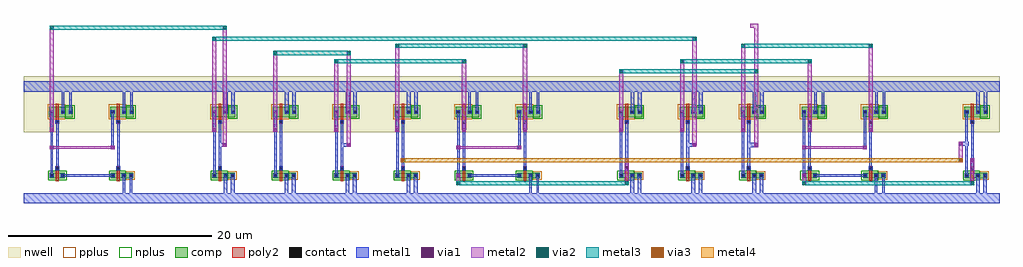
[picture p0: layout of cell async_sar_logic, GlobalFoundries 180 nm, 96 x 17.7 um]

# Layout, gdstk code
import gdstk
lib = gdstk.Library(unit=1e-6, precision=1e-09)
def R(c, l, rs):  # rectangles x0, y0, x1, y1
    for r in rs: c.add(gdstk.rectangle(r[:2], r[2:], *l))
nwell = (21, 0)
comp = (22, 0)
poly2 = (30, 0)
pplus = (31, 0)
nplus = (32, 0)
contact = (33, 0)
metal1 = (34, 0)
via1 = (35, 0)
metal2 = (36, 0)
via2 = (38, 0)
via3 = (40, 0)
metal3 = (42, 0)
metal4 = (46, 0)

gf180mcu_nfet_l_0_280_w_ = lib.new_cell('gf180mcu.nfet(L=0.280,W=0.500)')

gf180mcu_pfet_l_0_280_w_ = lib.new_cell('gf180mcu.pfet(L=0.280,W=1.000)')

async_inverter = lib.new_cell('async_inverter')
R(async_inverter, nwell, [(0,4.5,6,10), (0,4.5,6,10), (0,4.5,6,10), (1.85,5.31,5.54,7.69), (1.85,5.31,5.54,7.69), (1.85,5.31,5.54,7.69)])
R(async_inverter, comp, [(2.58,0,3,0.5), (2.58,0,3,0.5), (2.58,0,3,0.5), (3,0,3.66,0.5), (3,0,3.66,0.5), (3,0,3.66,0.5), (3.66,0,4.08,0.5), (3.66,0,4.08,0.5), (3.66,0,4.08,0.5), (4.08,0,4.79,0.5), (4.08,0,4.79,0.5), (4.08,0,4.79,0.5), (2.54,6,3,7), (2.54,6,3,7), (2.54,6,3,7), (3,6,3.66,7), (3,6,3.66,7), (3,6,3.66,7), (3.66,6,4.12,7), (3.66,6,4.12,7), (3.66,6,4.12,7), (4.12,6,4.85,7), (4.12,6,4.85,7), (4.12,6,4.85,7)])
R(async_inverter, poly2, [(3.19,-0.3,3.47,0.8), (3.19,-0.3,3.47,0.8), (3.19,-0.3,3.47,0.8), (3.15,0.8,3.51,1.16), (3.15,0.8,3.51,1.16), (3.15,0.8,3.51,1.16), (3.14,5.32,3.52,5.7), (3.14,5.32,3.52,5.7), (3.14,5.32,3.52,5.7), (3.19,5.7,3.47,7.3), (3.19,5.7,3.47,7.3), (3.19,5.7,3.47,7.3)])
R(async_inverter, pplus, [(4.08,-0.17,4.96,0.67), (4.08,-0.17,4.96,0.67), (4.08,-0.17,4.96,0.67), (2.37,5.76,4.12,7.24), (2.37,5.76,4.12,7.24), (2.37,5.76,4.12,7.24)])
R(async_inverter, nplus, [(2.41,-0.24,4.08,0.74), (2.41,-0.24,4.08,0.74), (2.41,-0.24,4.08,0.74), (4.12,5.83,5.02,7.17), (4.12,5.83,5.02,7.17), (4.12,5.83,5.02,7.17)])
R(async_inverter, contact, [(2.68,0.14,2.9,0.36), (2.68,0.14,2.9,0.36), (2.68,0.14,2.9,0.36), (3.76,0.14,3.98,0.36), (3.76,0.14,3.98,0.36), (3.76,0.14,3.98,0.36), (4.47,0.14,4.69,0.36), (4.47,0.14,4.69,0.36), (4.47,0.14,4.69,0.36), (3.22,0.87,3.44,1.09), (3.22,0.87,3.44,1.09), (3.22,0.87,3.44,1.09), (3.22,5.4,3.44,5.62), (3.22,5.4,3.44,5.62), (3.22,5.4,3.44,5.62), (2.66,6.39,2.88,6.61), (2.66,6.39,2.88,6.61), (2.66,6.39,2.88,6.61), (3.78,6.39,4,6.61), (3.78,6.39,4,6.61), (3.78,6.39,4,6.61), (4.51,6.39,4.73,6.61), (4.51,6.39,4.73,6.61), (4.51,6.39,4.73,6.61)])
R(async_inverter, metal1, [(0,-2.5,6,-1.5), (0,-2.5,6,-1.5), (0,-2.5,6,-1.5), (3.69,-2.5,4.05,0.25), (3.69,-2.5,4.05,0.25), (3.69,-2.5,4.05,0.25), (4.4,-2.5,4.76,0.25), (4.4,-2.5,4.76,0.25), (4.4,-2.5,4.76,0.25), (2.6,0.06,2.98,0.44), (2.6,0.06,2.98,0.44), (2.6,0.06,2.98,0.44), (3.68,0.06,4.06,0.44), (3.68,0.06,4.06,0.44), (3.68,0.06,4.06,0.44), (4.39,0.06,4.77,0.44), (4.39,0.06,4.77,0.44), (4.39,0.06,4.77,0.44), (2.64,0.12,2.9,6.63), (2.64,0.12,2.9,6.63), (2.64,0.12,2.9,6.63), (3.14,0.79,3.52,1.17), (3.14,0.79,3.52,1.17), (3.14,0.79,3.52,1.17), (3.2,0.85,3.46,5.64), (3.2,0.85,3.46,5.64), (3.2,0.85,3.46,5.64), (3.14,5.32,3.52,5.7), (3.14,5.32,3.52,5.7), (3.14,5.32,3.52,5.7), (2.58,6.31,2.96,6.69), (2.58,6.31,2.96,6.69), (2.58,6.31,2.96,6.69), (3.7,6.31,4.08,6.69), (3.7,6.31,4.08,6.69), (3.7,6.31,4.08,6.69), (4.43,6.31,4.81,6.69), (4.43,6.31,4.81,6.69), (4.43,6.31,4.81,6.69), (3.71,6.5,4.07,9.5), (3.71,6.5,4.07,9.5), (3.71,6.5,4.07,9.5), (4.44,6.5,4.8,9.5), (4.44,6.5,4.8,9.5), (4.44,6.5,4.8,9.5), (0,8.5,6,9.5), (0,8.5,6,9.5), (0,8.5,6,9.5)])
async_inverter.add(gdstk.Reference(gf180mcu_nfet_l_0_280_w_, (0,0)))
async_inverter.add(gdstk.Reference(gf180mcu_pfet_l_0_280_w_, (0,0)))

c_gf180mcu_nfet_l_0_280_w_ = lib.new_cell('gf180mcu.nfet(L=0.280,W=1.000)')

async_nand2 = lib.new_cell('async_nand2')
R(async_nand2, nwell, [(0,4.5,16,10), (1.85,5.31,5.54,7.69), (7.85,5.31,11.54,7.69)])
R(async_nand2, comp, [(2.58,0,3,0.5), (3,0,3.66,0.5), (3.66,0,4.08,0.5), (8.58,0,9,0.5), (9,0,9.66,0.5), (9.66,0,10.08,0.5), (10.08,0,10.79,0.5), (2.54,6,3,7), (3,6,3.66,7), (3.66,6,4.12,7), (4.12,6,4.85,7), (8.54,6,9,7), (9,6,9.66,7), (9.66,6,10.12,7), (10.12,6,10.85,7)])
R(async_nand2, poly2, [(3.19,-0.3,3.47,0.8), (9.19,-0.3,9.47,0.8), (3.15,0.8,3.51,1.16), (9.15,0.8,9.51,1.16), (3.14,5.32,3.52,5.7), (9.14,5.32,9.52,5.7), (3.19,5.7,3.47,7.3), (9.19,5.7,9.47,7.3)])
R(async_nand2, pplus, [(10.08,-0.17,10.96,0.67), (2.37,5.76,4.12,7.24), (8.37,5.76,10.12,7.24)])
R(async_nand2, nplus, [(2.41,-0.24,4.25,0.74), (8.41,-0.24,10.08,0.74), (4.12,5.83,5.02,7.17), (10.12,5.83,11.02,7.17)])
R(async_nand2, contact, [(2.68,0.14,2.9,0.36), (3.76,0.14,3.98,0.36), (8.68,0.14,8.9,0.36), (9.76,0.14,9.98,0.36), (10.47,0.14,10.69,0.36), (3.22,0.87,3.44,1.09), (9.22,0.87,9.44,1.09), (3.22,5.4,3.44,5.62), (9.22,5.4,9.44,5.62), (2.66,6.39,2.88,6.61), (3.78,6.39,4,6.61), (4.51,6.39,4.73,6.61), (8.66,6.39,8.88,6.61), (9.78,6.39,10,6.61), (10.51,6.39,10.73,6.61)])
R(async_nand2, metal1, [(0,-2.5,16,-1.5), (9.75,-2.5,9.99,0.25), (10.46,-2.5,10.7,0.25), (2.6,0.06,2.98,0.44), (3.68,0.06,4.06,0.44), (8.6,0.06,8.98,0.44), (9.68,0.06,10.06,0.44), (10.39,0.06,10.77,0.44), (3.75,0.13,8.91,0.37), (2.66,0.25,2.9,6.5), (3.14,0.79,3.52,1.17), (9.14,0.79,9.52,1.17), (3.21,0.98,3.45,5.51), (9.21,0.98,9.45,5.51), (2.59,2.81,2.97,3.19), (8.58,2.81,8.96,3.19), (8.65,3,8.89,6.5), (3.14,5.32,3.52,5.7), (9.14,5.32,9.52,5.7), (2.58,6.31,2.96,6.69), (3.7,6.31,4.08,6.69), (4.43,6.31,4.81,6.69), (8.58,6.31,8.96,6.69), (9.7,6.31,10.08,6.69), (10.43,6.31,10.81,6.69), (3.77,6.5,4.01,9.5), (4.5,6.5,4.74,9.5), (9.77,6.5,10.01,9.5), (10.5,6.5,10.74,9.5), (0,8.5,16,9.5)])
R(async_nand2, via1, [(2.65,2.87,2.91,3.13), (8.64,2.87,8.9,3.13)])
R(async_nand2, metal2, [(2.59,2.81,2.97,3.19), (8.58,2.81,8.96,3.19), (2.59,2.86,8.96,3.14)])
async_nand2.add(gdstk.Reference(c_gf180mcu_nfet_l_0_280_w_, (0,0)))
async_nand2.add(gdstk.Reference(gf180mcu_pfet_l_0_280_w_, (0,0)))

async_nor2 = lib.new_cell('async_nor2')
R(async_nor2, metal1, [(0,-2.5,34,-1.5), (14.59,0.06,14.97,0.44), (31.14,1.56,31.52,1.94), (2.59,4.56,2.97,4.94), (8.59,4.56,8.97,4.94), (15.14,4.56,15.52,4.94), (21.14,4.56,21.52,4.94), (0,8.5,34,9.5)])
R(async_nor2, via1, [(14.65,0.12,14.91,0.38), (31.2,1.62,31.46,1.88), (2.65,4.62,2.91,4.88), (8.65,4.62,8.91,4.88), (15.2,4.62,15.46,4.88), (21.2,4.62,21.46,4.88)])
R(async_nor2, metal2, [(14.58,-0.7,14.98,-0.3), (31.13,-0.7,31.53,-0.3), (14.58,-0.5,14.98,0.25), (31.13,-0.5,31.53,1.75), (14.59,0.06,14.97,0.44), (31.14,1.56,31.52,1.94), (2.59,4.56,2.97,4.94), (8.59,4.56,8.97,4.94), (15.14,4.56,15.52,4.94), (21.14,4.56,21.52,4.94), (2.58,4.75,2.98,11.5), (8.58,4.75,8.98,13), (15.13,4.75,15.53,11.5), (21.13,4.75,21.53,13), (2.58,11.3,2.98,11.7), (15.13,11.3,15.53,11.7), (8.58,12.8,8.98,13.2), (21.13,12.8,21.53,13.2)])
R(async_nor2, via2, [(14.65,-0.63,14.91,-0.37), (31.2,-0.63,31.46,-0.37), (2.65,11.37,2.91,11.63), (15.2,11.37,15.46,11.63), (8.65,12.87,8.91,13.13), (21.2,12.87,21.46,13.13)])
R(async_nor2, metal3, [(14.58,-0.7,14.98,-0.3), (14.58,-0.7,31.53,-0.3), (31.13,-0.7,31.53,-0.3), (2.58,11.3,2.98,11.7), (2.58,11.3,15.53,11.7), (15.13,11.3,15.53,11.7), (8.58,12.8,8.98,13.2), (8.58,12.8,21.53,13.2), (21.13,12.8,21.53,13.2)])
async_nor2.add(gdstk.Reference(async_inverter, (0,0)))
async_nor2.add(gdstk.Reference(async_inverter, (6,0)))
async_nor2.add(gdstk.Reference(async_inverter, (28,0)))
async_nor2.add(gdstk.Reference(async_nand2, (12,0)))

async_sar_logic = lib.new_cell('async_sar_logic')
R(async_sar_logic, metal1, [(0,-2.5,96,-1.5), (37.14,1.56,37.52,1.94), (71.2,3.05,72.26,3.45), (19.2,3.06,19.99,3.44), (19.61,3.06,19.99,3.44), (31.2,3.06,32.19,3.44), (31.81,3.06,32.19,3.44), (65.2,3.06,66.19,3.44), (65.81,3.06,66.19,3.44), (71.87,3.06,72.25,3.44), (92,3.175,92.97,3.575), (92.01,3.185,92.39,3.565), (2.59,4.56,2.97,4.94), (18.59,4.56,18.97,4.94), (24.59,4.56,24.97,4.94), (58.59,4.56,58.97,4.94), (0,8.5,96,9.5)])
R(async_sar_logic, via1, [(37.2,1.62,37.46,1.88), (19.67,3.12,19.93,3.38), (31.87,3.12,32.13,3.38), (65.87,3.12,66.13,3.38), (71.93,3.12,72.19,3.38), (92.07,3.245,92.33,3.505), (2.65,4.62,2.91,4.88), (18.65,4.62,18.91,4.88), (24.65,4.62,24.91,4.88), (58.65,4.62,58.91,4.88)])
R(async_sar_logic, metal2, [(37.13,1.55,37.53,1.95), (92,1.55,92.4,1.95), (37.14,1.56,37.52,1.94), (92,1.75,92.4,3.375), (71.86,3.05,72.26,15.2), (19.61,3.06,19.99,3.44), (31.81,3.06,32.19,3.44), (65.81,3.06,66.19,3.44), (71.87,3.06,72.25,3.44), (92.01,3.185,92.39,3.565), (19.6,3.25,20,14.8), (31.8,3.25,32.2,12.3), (65.8,3.25,66.2,13.7), (2.59,4.56,2.97,4.94), (18.59,4.56,18.97,4.94), (24.59,4.56,24.97,4.94), (58.59,4.56,58.97,4.94), (2.58,4.75,2.98,14.8), (18.58,4.75,18.98,13.7), (24.58,4.75,24.98,12.3), (58.58,4.75,58.98,10.5), (58.58,10.3,58.98,10.7), (71.86,10.3,72.26,10.7), (24.58,12.1,24.98,12.5), (31.8,12.1,32.2,12.5), (18.58,13.5,18.98,13.9), (65.8,13.5,66.2,13.9), (2.58,14.6,2.98,15), (19.6,14.6,20,15), (71.5,14.8,72.26,15.2)])
R(async_sar_logic, via2, [(37.2,1.62,37.46,1.88), (92.07,1.62,92.33,1.88), (58.65,10.37,58.91,10.63), (71.93,10.37,72.19,10.63), (24.65,12.17,24.91,12.43), (31.87,12.17,32.13,12.43), (18.65,13.57,18.91,13.83), (65.87,13.57,66.13,13.83), (2.65,14.67,2.91,14.93), (19.67,14.67,19.93,14.93)])
R(async_sar_logic, via3, [(37.2,1.62,37.46,1.88), (92.07,1.62,92.33,1.88)])
R(async_sar_logic, metal3, [(37.13,1.55,37.53,1.95), (37.13,1.55,37.53,1.95), (92,1.55,92.4,1.95), (92,1.55,92.4,1.95), (58.58,10.3,58.98,10.7), (58.58,10.3,72.26,10.7), (71.86,10.3,72.26,10.7), (24.58,12.1,24.98,12.5), (24.58,12.1,32.2,12.5), (31.8,12.1,32.2,12.5), (18.58,13.5,18.98,13.9), (18.58,13.5,66.2,13.9), (65.8,13.5,66.2,13.9), (2.58,14.6,2.98,15), (2.58,14.6,20,15), (19.6,14.6,20,15)])
R(async_sar_logic, metal4, [(37.13,1.55,37.53,1.95), (37.13,1.55,92.4,1.95), (92,1.55,92.4,1.95)])
async_sar_logic.add(gdstk.Reference(async_inverter, (16,0)))
async_sar_logic.add(gdstk.Reference(async_inverter, (22,0)))
async_sar_logic.add(gdstk.Reference(async_nand2, (0,0)))
async_sar_logic.add(gdstk.Reference(async_nor2, (28,0)))
async_sar_logic.add(gdstk.Reference(async_nor2, (62,0)))

lib.write_gds('async_sar_logic.gds')
